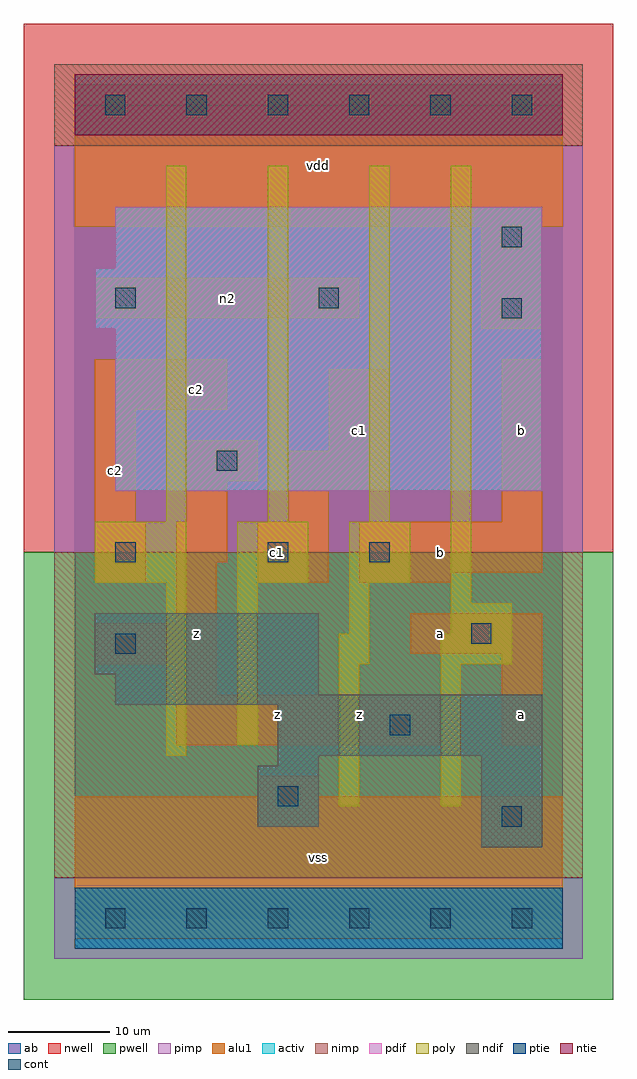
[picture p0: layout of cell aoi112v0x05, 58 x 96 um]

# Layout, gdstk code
import gdstk
lib = gdstk.Library(unit=1e-6, precision=1e-09)
def R(c, l, rs):  # rectangles x0, y0, x1, y1
    for r in rs: c.add(gdstk.rectangle(r[:2], r[2:], *l))
def A(c, l, x, y, w, h, nx, ny, dx, dy):  # array of equal rectangles
    R(c, l, [(x+i*dx, y+j*dy, x+i*dx+w, y+j*dy+h) for i in range(nx) for j in range(ny)])
ndif = (3, 0)
pdif = (4, 0)
ntie = (5, 0)
ptie = (6, 0)
cont = (25, 0)
pwell = (41, 0)
nwell = (42, 0)
activ = (43, 0)
pimp = (44, 0)
nimp = (45, 0)
poly = (46, 0)
alu1 = (49, 0)
ab = (63, 0)

aoi112v0x05 = lib.new_cell('aoi112v0x05')
R(aoi112v0x05, ndif, [(40,7,46,16), (18,9,24,15), (20,15,24,16), (20,16,46,21), (4,21,46,22), (4,22,24,24), (2,24,24,30)])
R(aoi112v0x05, pdif, [(4,42,46,58), (2,58,46,64), (4,64,46,70)])
R(aoi112v0x05, ntie, [(0,77,48,83)])
R(aoi112v0x05, ptie, [(0,-3,48,3)])
A(aoi112v0x05, cont, 3, -1, 2, 2, 6, 2, 8, 80)
R(aoi112v0x05, cont, [(42,9,44,11), (20,11,22,13), (31,18,33,20), (4,26,6,28), (39,27,41,29), (4,35,6,37), (19,35,21,37), (29,35,31,37), (14,44,16,46), (42,59,44,61), (4,60,6,62), (24,60,26,62), (42,66,44,68)])
R(aoi112v0x05, pwell, [(-5,-8,53,36)])
R(aoi112v0x05, nwell, [(-5,36,53,88)])
R(aoi112v0x05, activ, [(0,-3,48,3), (40,7,46,16), (18,9,24,15), (20,15,24,16), (20,16,46,21), (4,21,46,22), (4,22,24,24), (2,24,24,30), (4,42,46,58), (2,58,46,64), (4,64,46,70), (0,77,48,83)])
R(aoi112v0x05, pimp, [(-2,-4,50,4), (-2,36,50,76)])
R(aoi112v0x05, nimp, [(-2,4,50,36), (-2,76,50,84)])
A(aoi112v0x05, poly, 9, 39, 2, 35, 3, 1, 10, 0)
R(aoi112v0x05, poly, [(26,11,28,25), (36,11,38,25), (9,16,11,33), (16,17,18,33), (26,25,29,28), (36,25,43,28), (27,28,29,33), (37,28,43,31), (37,31,39,74), (2,33,11,39), (16,33,23,39), (27,33,33,39)])
R(aoi112v0x05, alu1, [(0,-2,48,12), (18,12,24,14), (10,17,36,22), (42,17,46,26), (10,22,14,25), (2,25,14,29), (33,26,46,30), (10,29,14,35), (2,33,7,39), (18,33,25,39), (28,33,37,34), (28,34,46,39), (10,35,15,39), (2,39,6,50), (11,39,15,43), (21,39,25,42), (42,39,46,55), (21,42,31,46), (11,43,18,47), (25,46,31,54), (2,50,15,55), (40,58,46,68), (2,59,28,63), (0,68,48,82)])
R(aoi112v0x05, ab, [(0,0,48,80)])
aoi112v0x05.add(gdstk.Label('n2', (15,61), layer=49, texttype=0))
aoi112v0x05.add(gdstk.Label('c2', (4,44), layer=49, texttype=0))
aoi112v0x05.add(gdstk.Label('z', (20,20), layer=49, texttype=0))
aoi112v0x05.add(gdstk.Label('z', (12,28), layer=49, texttype=0))
aoi112v0x05.add(gdstk.Label('c1', (20,36), layer=49, texttype=0))
aoi112v0x05.add(gdstk.Label('c2', (12,52), layer=49, texttype=0))
aoi112v0x05.add(gdstk.Label('vss', (24,6), layer=49, texttype=0))
aoi112v0x05.add(gdstk.Label('z', (28,20), layer=49, texttype=0))
aoi112v0x05.add(gdstk.Label('c1', (28,48), layer=49, texttype=0))
aoi112v0x05.add(gdstk.Label('vdd', (24,74), layer=49, texttype=0))
aoi112v0x05.add(gdstk.Label('a', (44,20), layer=49, texttype=0))
aoi112v0x05.add(gdstk.Label('b', (36,36), layer=49, texttype=0))
aoi112v0x05.add(gdstk.Label('a', (36,28), layer=49, texttype=0))
aoi112v0x05.add(gdstk.Label('b', (44,48), layer=49, texttype=0))

lib.write_gds('aoi112v0x05.gds')
